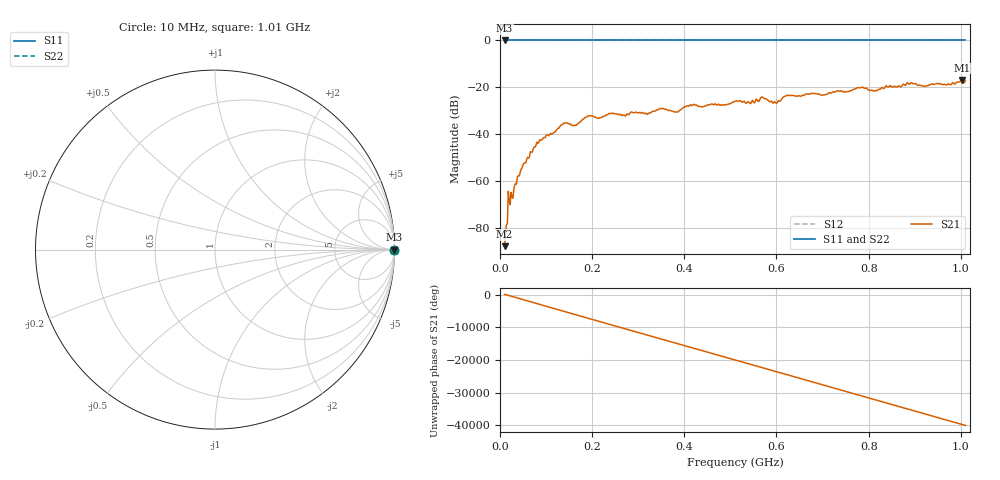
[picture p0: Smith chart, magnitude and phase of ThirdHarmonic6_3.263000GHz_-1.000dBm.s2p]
! 8/17/2025 10:04:34 AM
! C:\ANRITSUVNA\TEMP\TEMP.S2P
! CHANNEL.1
! TR.MEASUREMENT
! RAW.DATA
! RF.CORRECTION.OFF
! AVERAGING.OFF
! IF.BANDWIDTH: 5KHZ
! SWEEPTYPE:  FREQ.SWEEP(Linear)
! Reference Plane Port Info
! PORT:  PORT1  PORT2
! DISTANCE:  0  m  0  m
! TIME:  0  s  0  s
! PHASE.OFFSET:  0  deg.  0  deg.
! LOSS:  0  dB  0  dB
! REF.LOSS:  0  dB  0  dB
! REF.FREQ:  0  Hz  0  Hz
! Power Info
! POWER:  -20  dBm  -20  dBm
! EFF.POWER:  -20  dBm  -20  dBm
! SOURCE.ATTEN:  0  dB  0  dB
! TEST.ATTEN:  0  dB  0  dB
# GHZ S RI R 50.0
! FREQ.GHZ  S11RE  S11IM  S21RE  S21IM  S12RE  S12IM  S22RE  S22IM
!; PortSelection: Port_12
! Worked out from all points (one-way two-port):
!   501 points, 10 MHz to 1.01 GHz, reference 50 ohm
!   highest |S21| = -16.87 dB at 1.002 GHz (marker M1); lowest = -87.6 dB at 10 MHz (marker M2)
!   lowest |S11| = 0.0 dB at 10 MHz (marker M3)
!   |S11| at or under -10 dB: nowhere
!   |S22| runs from 0.0 to 0.0 dB; largest |S21 - S12| = 1.1
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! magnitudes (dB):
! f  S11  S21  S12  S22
! 10 MHz  0.0  -87.6  0.0  0.0
! 12 MHz  0.0  -81.2  0.0  0.0
! 22 MHz  0.0  -69.9  0.0  0.0
! 26 MHz  0.0  -66.7  0.0  0.0
! 48 MHz  0.0  -54.3  0.0  0.0
! 76 MHz  0.0  -45.4  0.0  0.0
! 136 MHz  0.0  -35.7  0.0  0.0
! 162 MHz  0.0  -36.1  0.0  0.0
! 178 MHz  0.0  -33.9  0.0  0.0
! 194 MHz  0.0  -32.1  0.0  0.0
! 322 MHz  0.0  -31.0  0.0  0.0
! 344 MHz  0.0  -29.5  0.0  0.0
! 382 MHz  0.0  -30.4  0.0  0.0
! 416 MHz  0.0  -27.7  0.0  0.0
! 510 MHz  0.0  -25.9  0.0  0.0
! 570 MHz  0.0  -24.1  0.0  0.0
! 596 MHz  0.0  -26.0  0.0  0.0
! 622 MHz  0.0  -23.4  0.0  0.0
! 678 MHz  0.0  -22.6  0.0  0.0
! 844 MHz  0.0  -19.7  0.0  0.0
! 1.002 GHz  0.0  -16.9  0.0  0.0
! 1.01 GHz  0.0  -17.2  0.0  0.0
